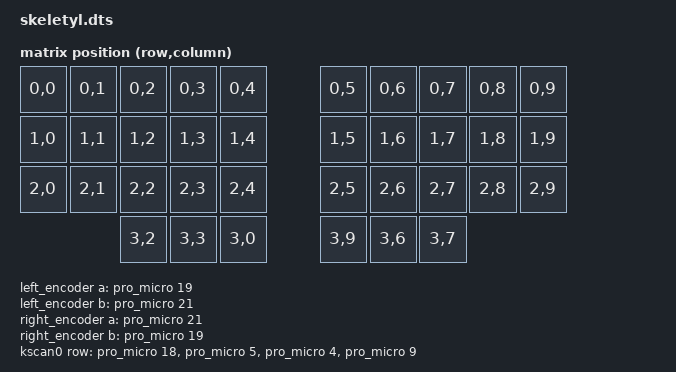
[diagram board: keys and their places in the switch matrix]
/*
 * Copyright (c) 2020 ZMK Contributors
 *
 * SPDX-License-Identifier: MIT
 */

#include <dt-bindings/zmk/matrix_transform.h>

/ {
    chosen {
        zmk,kscan = &kscan0;
        zmk,matrix_transform = &default_transform;
        zmk,underglow = &led_strip;
    };

    &spi1 {
        compatible = "nordic,nrf-spim";
        status = "okay";
        mosi-pin = <13>;  // Pro Micro pin 16 (P0.13 on nRF52840)
        sck-pin = <15>;   // Pro Micro pin 18 (P0.15)
        // MISO not used but required by SPI definition
        miso-pin = <14>;  // Pro Micro pin 14 (P0.14)
        
        led_strip: ws2812@0 {
            compatible = "worldsemi,ws2812-spi";
            label = "WS2812";
            reg = <0>;
            spi-max-frequency = <4000000>;
            chain-length = <10>; // Match your actual LED count
            spi-one-frame = <0x70>;
            spi-zero-frame = <0x40>;
            color-mapping = <LED_COLOR_ID_GREEN LED_COLOR_ID_RED LED_COLOR_ID_BLUE>;
        };
    };
    
    left_encoder: encoder_left {
        compatible = "alps,ec11";
        label = "LEFT_ENCODER";
	    a-gpios = <&pro_micro 19 (GPIO_ACTIVE_HIGH | GPIO_PULL_UP)>;
        b-gpios = <&pro_micro 21 (GPIO_ACTIVE_HIGH | GPIO_PULL_UP)>;
        steps = <80>;
    };
    
    right_encoder: encoder_right {
        compatible = "alps,ec11";
        label = "RIGHT_ENCODER";
	    a-gpios = <&pro_micro 21 (GPIO_ACTIVE_HIGH | GPIO_PULL_UP)>;
        b-gpios = <&pro_micro 19 (GPIO_ACTIVE_HIGH | GPIO_PULL_UP)>;
        steps = <80>;
    };
    
	sensors {
		compatible = "zmk,keymap-sensors";
		sensors = <&left_encoder &right_encoder>;
        triggers-per-rotation = <20>;
	};

    default_transform: keymap_transform_0 {
        compatible = "zmk,matrix-transform";
        columns = <10>;
        rows = <4>;

        map = <
RC(0,0) RC(0,1) RC(0,2) RC(0,3) RC(0,4)                 RC(0,5) RC(0,6) RC(0,7) RC(0,8) RC(0,9)
RC(1,0) RC(1,1) RC(1,2) RC(1,3) RC(1,4)                 RC(1,5) RC(1,6) RC(1,7) RC(1,8) RC(1,9)
RC(2,0) RC(2,1) RC(2,2) RC(2,3) RC(2,4)                 RC(2,5) RC(2,6) RC(2,7) RC(2,8) RC(2,9)
                RC(3,2) RC(3,3) RC(3,0)                 RC(3,9) RC(3,6) RC(3,7)
        >;
    };

    kscan0: kscan {
        compatible = "zmk,kscan-gpio-matrix";
        label = "KSCAN";

        diode-direction = "row2col";
        row-gpios
            = <&pro_micro 18  GPIO_ACTIVE_HIGH>
            , <&pro_micro 5  GPIO_ACTIVE_HIGH>
            , <&pro_micro 4  GPIO_ACTIVE_HIGH>
            , <&pro_micro 9 GPIO_ACTIVE_HIGH>
            ;
        
    };

};
